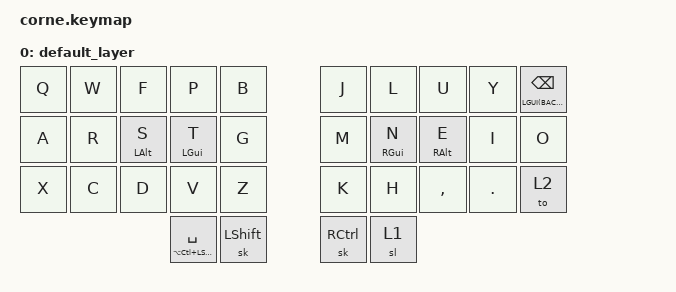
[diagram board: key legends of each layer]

/*
 * Copyright (c) 2020 The ZMK Contributors
 *
 * SPDX-License-Identifier: MIT
 */


/* THIS FILE WAS GENERATED!
 *
 * This file was generated automatically. You may or may not want to
 * edit it directly.
 */

#include <behaviors.dtsi>
#include <dt-bindings/zmk/keys.h>
/* #include <dt-bindings/zmk/outputs.h>
#include <dt-bindings/zmk/bt.h>
#include <dt-bindings/zmk/mouse.h> */

/ {
    behaviors {
        td_f: tap_dance_f {
            compatible = "zmk,behavior-tap-dance";
            label = "TAP_DANCE_F";
            #binding-cells = <0>;
            tapping-term-ms = <200>;
            bindings = <&kp F>, <&sl 4>, <&kp F>;
        };

        td_k: tap_dance_k {
            compatible = "zmk,behavior-tap-dance";
            label = "TAP_DANCE_K";
            #binding-cells = <0>;
            tapping-term-ms = <200>;
            bindings = <&kp K>, <&sk LALT>, <&kp K>;
        };

        td_q: tap_dance_q {
            compatible = "zmk,behavior-tap-dance";
            label = "TAP_DANCE_Q";
            #binding-cells = <0>;
            tapping-term-ms = <200>;
            bindings = <&kp Q>, <&to 5>, <&kp Q>;
        };

        
    };
    
    keymap {
        compatible = "zmk,keymap";


        default_layer {
            bindings = <
          &kp Q   &kp W   &kp F           &kp P                   &kp B               &kp J              &kp L            &kp U            &kp Y    &mt LGUI(BACKSPACE) BACKSPACE
          &kp A   &kp R   &mt LEFT_ALT S  &mt LEFT_GUI T          &kp G               &kp M              &mt RIGHT_GUI N  &mt RIGHT_ALT E  &kp I    &kp O
          &kp X   &kp C   &kp D           &kp V                   &kp Z               &kp K              &kp H            &kp COMMA        &kp DOT  &to 2
                                          &mt LA(LC(LSHFT)) SPACE &sk LEFT_SHIFT      &sk RIGHT_CONTROL  &sl 1
            >;
        };

        /* layer_One_Shot {
            bindings = <
           &kp ESC   &kp AT          &kp HASH          &kp PRINTSCREEN    &kp PERCENT          &kp CARET         &kp AMPERSAND         &kp KP_MULTIPLY        &kp SEMICOLON     &kp COLON
           &kp TAB   &kp EQUAL       &kp SINGLE_QUOTE  &kp DOUBLE_QUOTES  &trans               &kp               &kp LEFT_BRACE        &kp RIGHT_BRACE        &kp               &kp ENTER
           &kp TILDE &kp DOLLAR      &kp UNDERSCORE    &trans             &to 4                &kp LEFT_BRACKET  &kp LEFT_PARENTHESIS  &kp RIGHT_PARENTHESIS  &kp RIGHT_BRACKET &to 3
                                                       &to 0              &sk LEFT_SHIFT       &sk RIGHT_ALT     &to 2
            >;
        };

        layer_NUM_CTRL {
            bindings = <
         &kp ESC  &kp C_PLAY_PAUSE &kp C_PREV     &kp C_NEXT     &kp UNDERSCORE          &mt LGUI(MINUS) MINUS   &mt LGUI(N7) N7  &mt LGUI(N8) N8  &mt LGUI(N9) N9     &trans
         &kp TAB  &trans           &kp C_VOL_DN   &kp C_VOL_UP   &kp PLUS                &mt LGUI(EQUAL) EQUAL   &mt LGUI(N4) N4  &mt LGUI(N5) N5  &mt LGUI(N6) N6     &kp ENTER
         &to 4    &kp KP_MULTIPLY  &kp C_BRI_DEC  &kp C_BRI_INC  &kp KP_DOT              &mt LGUI(N0) N0         &mt LGUI(N1) N1  &mt LGUI(N2) N2  &mt LGUI(N3) N3     &trans
                                                  &to 0          &sk LEFT_GUI            &kp RIGHT_ALT           &trans
            >;
        };

        layer_Navigate {
            bindings = <
         &mt LA(F4) ESC         &mwh SCROLL_LEFT &mmv MOVE_UP   &mwh SCROLL_RIGHT &mt Q H             &kp LA(LEFT_ARROW)              &kp RC(LS(TAB))                  &mt RGUI(UP_ARROW) UP_ARROW  &kp LC(TAB)                        &kp LA(RIGHT_ARROW)
         &mt TAB LA(TAB)        &mmv MOVE_LEFT   &mmv MOVE_DOWN &mmv MOVE_RIGHT   &kp LGUI            &mt RGUI(LEFT_ARROW) LEFT_ARROW &mt RGUI(DOWN_ARROW) DOWN_ARROW  &mt RGUI(UP_ARROW) UP_ARROW  &mt RGUI(RIGHT_ARROW) RIGHT_ARROW  &kp ENTER 
         &kp LC(LG(LEFT_ARROW)) &kp DEL         &mwh SCROLL_UP  &mwh SCROLL_DOWN  &mkp LCLK           &mkp RCLK                       &kp PAGE_UP                      &kp PAGE_DOWN                &trans                             &kp LC(LG(RIGHT_ARROW))
                                                                &to 0             &trans              &kp RA                          &to 1
            >;
        };

        layer_Keyboard_Function {
            bindings = <
         &trans  &bt BT_SEL 2  &bt BT_NXT  &trans        &reset              &trans  &kp F9  &kp F10  &kp F11  &kp F12
         &trans  &tbt BT_SEL 1  &bt BT_CLR  &out OUT_TOG  &trans              &trans  &kp F5  &kp F6   &kp F7   &kp F8
         &trans  &bt BT_SEL 0  &bt BT_PRV  &trans        &trans              &trans  &kp F1  &kp F2   &kp F3   &kp F4
                                     &to 0        &trans              &trans  &trans
            >;
        };

        layer_QWERTY {
            bindings = <
         &kp Q &kp W &kp E &kp R      &kp T             &kp Y          &kp U  &kp I       &kp O    &kp P
         &kp A &kp S &kp D &kp F      &kp G             &kp H          &kp J  &kp K       &kp L    &kp 
         &kp Z &kp X &kp C &kp V      &kp B             &kp N          &kp M  &kp COMMA   &kp DOT  &kp MINUS
                           &kp SPACE  &sk RALT          &kp BACKSPACE  &to 0
            >;
        }; */

    };
};



